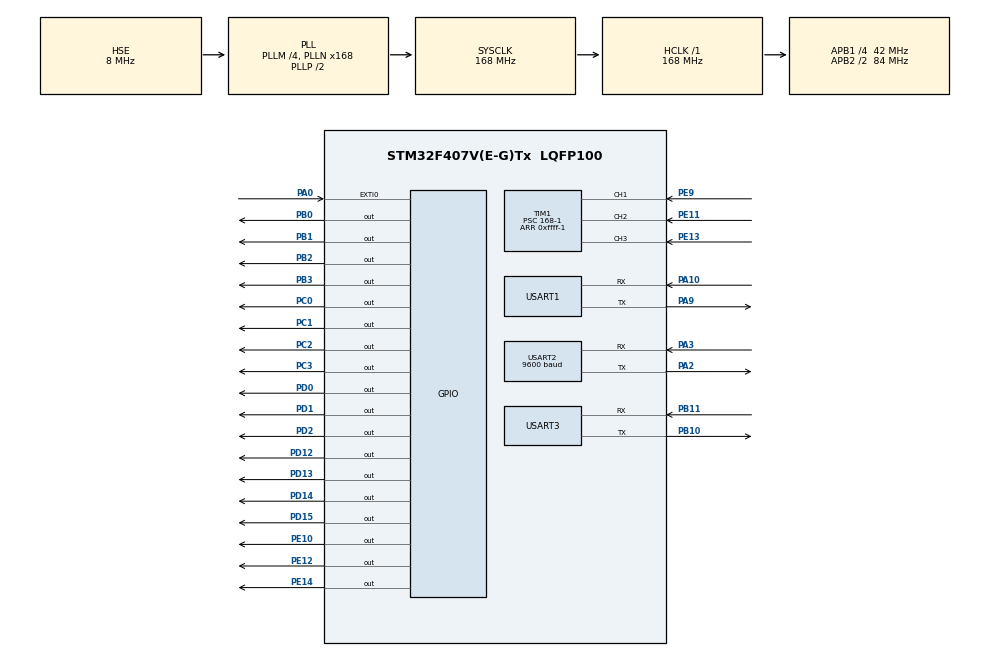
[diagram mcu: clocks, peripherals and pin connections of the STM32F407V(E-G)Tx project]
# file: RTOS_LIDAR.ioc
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Dma.Request0=USART1_RX
Dma.Request1=USART2_RX
Dma.Request2=USART3_TX
Dma.Request3=USART3_RX
Dma.USART1_RX.0.Direction=DMA_PERIPH_TO_MEMORY
Dma.USART1_RX.0.FIFOMode=DMA_FIFOMODE_DISABLE
Dma.USART1_RX.0.Instance=DMA2_Stream2
Dma.USART1_RX.0.MemDataAlignment=DMA_MDATAALIGN_BYTE
Dma.USART1_RX.0.MemInc=DMA_MINC_ENABLE
Dma.USART1_RX.0.Mode=DMA_NORMAL
Dma.USART1_RX.0.PeriphDataAlignment=DMA_PDATAALIGN_BYTE
Dma.USART1_RX.0.PeriphInc=DMA_PINC_DISABLE
Dma.USART1_RX.0.Priority=DMA_PRIORITY_LOW
Dma.USART2_RX.1.Direction=DMA_PERIPH_TO_MEMORY
Dma.USART2_RX.1.FIFOMode=DMA_FIFOMODE_DISABLE
Dma.USART2_RX.1.Instance=DMA1_Stream5
Dma.USART2_RX.1.MemDataAlignment=DMA_MDATAALIGN_BYTE
Dma.USART2_RX.1.MemInc=DMA_MINC_ENABLE
Dma.USART2_RX.1.Mode=DMA_NORMAL
Dma.USART2_RX.1.PeriphDataAlignment=DMA_PDATAALIGN_BYTE
Dma.USART2_RX.1.PeriphInc=DMA_PINC_DISABLE
Dma.USART2_RX.1.Priority=DMA_PRIORITY_LOW
Dma.USART3_RX.3.Direction=DMA_PERIPH_TO_MEMORY
Dma.USART3_RX.3.FIFOMode=DMA_FIFOMODE_DISABLE
Dma.USART3_RX.3.Instance=DMA1_Stream1
Dma.USART3_RX.3.MemDataAlignment=DMA_MDATAALIGN_BYTE
Dma.USART3_RX.3.MemInc=DMA_MINC_ENABLE
Dma.USART3_RX.3.Mode=DMA_NORMAL
Dma.USART3_RX.3.PeriphDataAlignment=DMA_PDATAALIGN_BYTE
Dma.USART3_RX.3.PeriphInc=DMA_PINC_DISABLE
Dma.USART3_RX.3.Priority=DMA_PRIORITY_LOW
Dma.USART3_TX.2.Direction=DMA_MEMORY_TO_PERIPH
Dma.USART3_TX.2.FIFOMode=DMA_FIFOMODE_DISABLE
Dma.USART3_TX.2.Instance=DMA1_Stream3
Dma.USART3_TX.2.MemDataAlignment=DMA_MDATAALIGN_BYTE
Dma.USART3_TX.2.MemInc=DMA_MINC_ENABLE
Dma.USART3_TX.2.Mode=DMA_NORMAL
Dma.USART3_TX.2.PeriphDataAlignment=DMA_PDATAALIGN_BYTE
Dma.USART3_TX.2.PeriphInc=DMA_PINC_DISABLE
Dma.USART3_TX.2.Priority=DMA_PRIORITY_LOW
FREERTOS.Tasks01=LidarREAD,24,128,StartLidarREAD,Default,NULL,Dynamic,NULL,NULL;TakeAction_Lida,8,128,Start_TakeAction_Lidar,Default,NULL,Dynamic,NULL,NULL;Ultrasonic_Read,24,128,Start_Ultrasonic_Read,Default,NULL,Dynamic,NULL,NULL;GPS,16,128,Start_GPS,Default,NULL,Dynamic,NULL,NULL;Send_Data,8,300,StartTask06,Default,NULL,Dynamic,NULL,NULL;Rec_Data,8,128,Start_Rec_Transmit,Default,NULL,Dynamic,NULL,NULL;LED_task,8,128,StartTask07,Default,NULL,Dynamic,NULL,NULL
Mcu.Family=STM32F4
Mcu.Name=STM32F407V(E-G)Tx
Mcu.Package=LQFP100
NVIC.DMA1_Stream1_IRQn=true\:5\:0\:false\:false\:true\:true\:false\:true\:true
NVIC.DMA1_Stream3_IRQn=true\:5\:0\:false\:false\:true\:true\:false\:true\:true
NVIC.DMA1_Stream5_IRQn=true\:5\:0\:false\:false\:true\:true\:false\:true\:true
NVIC.DMA2_Stream2_IRQn=true\:5\:0\:false\:false\:true\:true\:false\:true\:true
NVIC.EXTI0_IRQn=true\:7\:0\:true\:false\:true\:true\:true\:true\:true
NVIC.PriorityGroup=NVIC_PRIORITYGROUP_4
NVIC.TIM1_CC_IRQn=true\:5\:0\:false\:false\:true\:true\:true\:true\:true
NVIC.TIM6_DAC_IRQn=true\:15\:0\:true\:false\:true\:false\:false\:true\:true
NVIC.TimeBase=TIM6_DAC_IRQn
NVIC.TimeBaseIP=TIM6
NVIC.USART1_IRQn=true\:5\:0\:false\:false\:true\:true\:true\:true\:true
NVIC.USART2_IRQn=true\:5\:0\:false\:false\:true\:true\:true\:true\:true
NVIC.USART3_IRQn=true\:5\:0\:false\:false\:true\:true\:true\:true\:true
PA0-WKUP.Signal=GPXTI0
PA10.Mode=Asynchronous
PA10.Signal=USART1_RX
PA13.Mode=Serial_Wire
PA13.Signal=SYS_JTMS-SWDIO
PA14.Mode=Serial_Wire
PA14.Signal=SYS_JTCK-SWCLK
PA2.Mode=Asynchronous
PA2.Signal=USART2_TX
PA3.Mode=Asynchronous
PA3.Signal=USART2_RX
PA9.Mode=Asynchronous
PA9.Signal=USART1_TX
PB0.Signal=GPIO_Output
PB1.Signal=GPIO_Output
PB10.Mode=Asynchronous
PB10.Signal=USART3_TX
PB11.Mode=Asynchronous
PB11.Signal=USART3_RX
PB2.Signal=GPIO_Output
PB3.Signal=GPIO_Output
PC0.Signal=GPIO_Output
PC1.Signal=GPIO_Output
PC14-OSC32_IN.Mode=LSE-External-Oscillator
PC14-OSC32_IN.Signal=RCC_OSC32_IN
PC15-OSC32_OUT.Mode=LSE-External-Oscillator
PC15-OSC32_OUT.Signal=RCC_OSC32_OUT
PC2.Signal=GPIO_Output
PC3.Signal=GPIO_Output
PD0.Signal=GPIO_Output
PD1.Signal=GPIO_Output
PD12.Signal=GPIO_Output
PD13.Signal=GPIO_Output
PD14.Signal=GPIO_Output
PD15.Signal=GPIO_Output
PD2.Signal=GPIO_Output
PE10.Signal=GPIO_Output
PE11.Signal=S_TIM1_CH2
PE12.Signal=GPIO_Output
PE13.Signal=S_TIM1_CH3
PE14.Signal=GPIO_Output
PE9.Signal=S_TIM1_CH1
PH0-OSC_IN.Mode=HSE-External-Oscillator
PH0-OSC_IN.Signal=RCC_OSC_IN
PH1-OSC_OUT.Mode=HSE-External-Oscillator
PH1-OSC_OUT.Signal=RCC_OSC_OUT
ProjectManager.HeapSize=0x200
ProjectManager.StackSize=0x400
ProjectManager.TargetToolchain=STM32CubeIDE
RCC.48MHZClocksFreq_Value=84000000
RCC.AHBFreq_Value=168000000
RCC.APB1CLKDivider=RCC_HCLK_DIV4
RCC.APB1Freq_Value=42000000
RCC.APB1TimFreq_Value=84000000
RCC.APB2CLKDivider=RCC_HCLK_DIV2
RCC.APB2Freq_Value=84000000
RCC.APB2TimFreq_Value=168000000
RCC.CortexFreq_Value=168000000
RCC.HCLKFreq_Value=168000000
RCC.HSE_VALUE=8000000
RCC.HSI_VALUE=16000000
RCC.PLLM=4
RCC.PLLN=168
RCC.PLLSourceVirtual=RCC_PLLSOURCE_HSE
RCC.SYSCLKFreq_VALUE=168000000
RCC.SYSCLKSource=RCC_SYSCLKSOURCE_PLLCLK
RCC.VCOOutputFreq_Value=336000000
SH.S_TIM1_CH1.0=TIM1_CH1,Input_Capture1_from_TI1
SH.S_TIM1_CH2.0=TIM1_CH2,Input_Capture2_from_TI2
SH.S_TIM1_CH3.0=TIM1_CH3,Input_Capture3_from_TI3
TIM1.Channel-Input_Capture1_from_TI1=TIM_CHANNEL_1
TIM1.Channel-Input_Capture2_from_TI2=TIM_CHANNEL_2
TIM1.Channel-Input_Capture3_from_TI3=TIM_CHANNEL_3
TIM1.Period=0xffff-1
TIM1.Prescaler=168-1
USART1.VirtualMode=VM_ASYNC
USART2.BaudRate=9600
USART2.VirtualMode=VM_ASYNC
USART3.VirtualMode=VM_ASYNC
VP_FREERTOS_VS_CMSIS_V2.Mode=CMSIS_V2
VP_SYS_VS_tim6.Mode=TIM6
VP_TIM1_VS_ClockSourceINT.Mode=Internal
board=custom

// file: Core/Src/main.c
/* USER CODE BEGIN Header */
/**
 ******************************************************************************
 * @file           : main.c
 * @brief          : Main program body
 ******************************************************************************
 * @attention
 *
 * Copyright (c) 2023 STMicroelectronics.
 * All rights reserved.
 *
 * This software is licensed under terms that can be found in the LICENSE file
 * in the root directory of this software component.
 * If no LICENSE file comes with this software, it is provided AS-IS.
 *
 ******************************************************************************
 */
/* USER CODE END Header */
#include "main.h"
#include "cmsis_os.h"

/* USER CODE BEGIN Includes */
#include "Lidar.h"
#include "UltraSonic.h"
#include "string.h"
#include "gps_driver.h"
#include"LCD.h"
#include <string.h>
#include <stdio.h>

/* USER CODE END Includes */

/* USER CODE BEGIN PTD */
//A.hamid create 2 states for vehivles representing moving direction and safety level
typedef enum driving_states{

SAFE,
WARNING,
BRAKING,

}driving_states;

typedef enum direction_states{

STRAIGHT,
LEFT,
RIGHT

}direction_states;

/* USER CODE END PTD */

TIM_HandleTypeDef htim1;

UART_HandleTypeDef huart1;
UART_HandleTypeDef huart2;
UART_HandleTypeDef huart3;
DMA_HandleTypeDef hdma_usart1_rx;
DMA_HandleTypeDef hdma_usart2_rx;
DMA_HandleTypeDef hdma_usart3_tx;
DMA_HandleTypeDef hdma_usart3_rx;

/* Definitions for LidarREAD */
osThreadId_t LidarREADHandle;
const osThreadAttr_t LidarREAD_attributes = {
  .name = "LidarREAD",
  .stack_size = 128 * 4,
  .priority = (osPriority_t) osPriorityNormal,
};
/* Definitions for TakeAction_Lida */
osThreadId_t TakeAction_LidaHandle;
const osThreadAttr_t TakeAction_Lida_attributes = {
  .name = "TakeAction_Lida",
  .stack_size = 128 * 4,
  .priority = (osPriority_t) osPriorityLow,
};
/* Definitions for Ultrasonic_Read */
osThreadId_t Ultrasonic_ReadHandle;
const osThreadAttr_t Ultrasonic_Read_attributes = {
  .name = "Ultrasonic_Read",
  .stack_size = 128 * 4,
  .priority = (osPriority_t) osPriorityNormal,
};
/* Definitions for GPS */
osThreadId_t GPSHandle;
const osThreadAttr_t GPS_attributes = {
  .name = "GPS",
  .stack_size = 128 * 4,
  .priority = (osPriority_t) osPriorityBelowNormal,
};
/* Definitions for Send_Data */
osThreadId_t Send_DataHandle;
const osThreadAttr_t Send_Data_attributes = {
  .name = "Send_Data",
  .stack_size = 300 * 4,
  .priority = (osPriority_t) osPriorityLow,
};
/* Definitions for Rec_Data */
osThreadId_t Rec_DataHandle;
const osThreadAttr_t Rec_Data_attributes = {
  .name = "Rec_Data",
  .stack_size = 128 * 4,
  .priority = (osPriority_t) osPriorityLow,
};
/* Definitions for LED_task */
osThreadId_t LED_taskHandle;
const osThreadAttr_t LED_task_attributes = {
  .name = "LED_task",
  .stack_size = 128 * 4,
  .priority = (osPriority_t) osPriorityLow,
};
/* USER CODE BEGIN PV */
#define RxBuf_SIZE 800

uint8_t RxBuf[RxBuf_SIZE];
uint8_t RMC[80];
uint8_t GGA[80];
uint8_t msgindex=0;
uint8_t msgindexRMC=0;

GGA_STRUCT GGA_DATA;

RMC_STRUCT RMC_DATA;

int Flag=0;
char str_GGA[50];
char str_RMC[100];

driving_states vehicle_state=SAFE;    //A.hamid
direction_states vehicle_direction=STRAIGHT;
//A.Hamid added Task07
/* USER CODE END PV */

void SystemClock_Config(void);
static void MX_GPIO_Init(void);
static void MX_DMA_Init(void);
static void MX_USART1_UART_Init(void);
static void MX_TIM1_Init(void);
static void MX_USART2_UART_Init(void);
static void MX_USART3_UART_Init(void);
void StartLidarREAD(void *argument);
void Start_TakeAction_Lidar(void *argument);
void Start_Ultrasonic_Read(void *argument);
void Start_GPS(void *argument);
void StartTask06(void *argument);
void Start_Rec_Transmit(void *argument);
void StartTask07(void *argument);

/* USER CODE BEGIN PFP */
//A.hamid states functions turns ono and off leds and lcds
void warning_state(void);
void breaking_state(void);
void straight_state(void);

void left_state(void);
void right_state(void);
void safe_state(void);

/* USER CODE END PFP */

/* USER CODE BEGIN 0 */
/*****extern variable****/
extern uint16_t Global_u16LidarDistance;
extern uint32_t Rear_Distance;
extern uint32_t Left_Distance;
extern uint32_t Right_Distance;
char test_data[450];
const char Vehicle_ID[]= "A12";
int Routing_command=0;
float Destination_Longitude=31.3488351;
float Destination_Latitude=30.0591282;
int Check_Front_Obs=0;

char rx_data[10]; //A.Hamid TEST increased  size, can be reduced again
int Flag_Rec =0;
int Flag_obstacle=0;
int Flag_Drive=0;
uint8_t blink_color = 0;

/*buffer to receive data */
uint8_t g_usart1_rx_buf[USART_BUF_SIZE] = { 0 };
void HAL_UARTEx_RxEventCallback(UART_HandleTypeDef *huart, uint16_t Size)
{
	if (huart->Instance == USART2)
	{
		Flag=1;
		/* start the DMA again */
		HAL_UARTEx_ReceiveToIdle_DMA(&huart2, (uint8_t *) RxBuf, RxBuf_SIZE);
		__HAL_DMA_DISABLE_IT(&hdma_usart2_rx, DMA_IT_HT);
	}
	if (huart->Instance == USART3)
	{
		Flag_Rec=1;
		/* start the DMA again */
		HAL_UARTEx_ReceiveToIdle_DMA(&huart3, (uint8_t *) rx_data, sizeof(rx_data));
		__HAL_DMA_DISABLE_IT(&hdma_usart3_rx, DMA_IT_HT);

	}
}

/* USER CODE END 0 */

int main(void)
{

  /* MCU Configuration--------------------------------------------------------*/

  /* Reset of all peripherals, Initializes the Flash interface and the Systick. */
  HAL_Init();

  /* Configure the system clock */
  SystemClock_Config();

  /* Initialize all configured peripherals */
  MX_GPIO_Init();
  MX_DMA_Init();
  MX_USART1_UART_Init();
  MX_TIM1_Init();
  MX_USART2_UART_Init();
  MX_USART3_UART_Init();
  /* USER CODE BEGIN 2 */
	HAL_UARTEx_ReceiveToIdle_DMA(&huart2, RxBuf, RxBuf_SIZE);
	__HAL_DMA_DISABLE_IT(&hdma_usart2_rx, DMA_IT_HT);

	HAL_UARTEx_ReceiveToIdle_DMA(&huart3, rx_data, sizeof(rx_data));
	__HAL_DMA_DISABLE_IT(&hdma_usart3_rx, DMA_IT_HT);
	LCD_init(); /* Initialize the LCD */
	LCD_displayStringRowColumn(0,0,"STM LCD Driver");
	LCD_displayStringRowColumn(1,3,"GRAD PROJECT");
	HAL_Delay(400); /* wait four seconds */

	LCD_clearScreen(); /* clear the LCD display */
	LCD_displayString(" ");
	LCD_displayStringRowColumn(1,3,"4-Bit Mode");
  /* USER CODE END 2 */

  /* Init scheduler */
  osKernelInitialize();

  /* Create the thread(s) */
  /* creation of LidarREAD */
  LidarREADHandle = osThreadNew(StartLidarREAD, NULL, &LidarREAD_attributes);

  /* creation of TakeAction_Lida */
  TakeAction_LidaHandle = osThreadNew(Start_TakeAction_Lidar, NULL, &TakeAction_Lida_attributes);

  /* creation of Ultrasonic_Read */
  Ultrasonic_ReadHandle = osThreadNew(Start_Ultrasonic_Read, NULL, &Ultrasonic_Read_attributes);

  /* creation of GPS */
  GPSHandle = osThreadNew(Start_GPS, NULL, &GPS_attributes);

  /* creation of Send_Data */
  Send_DataHandle = osThreadNew(StartTask06, NULL, &Send_Data_attributes);

  /* creation of Rec_Data */
  Rec_DataHandle = osThreadNew(Start_Rec_Transmit, NULL, &Rec_Data_attributes);

  /* creation of LED_task */
  LED_taskHandle = osThreadNew(StartTask07, NULL, &LED_task_attributes);

  /* Start scheduler */
  osKernelStart();
  /* We should never get here as control is now taken by the scheduler */
  /* Infinite loop */
	while (1)
	{

	}
}

void SystemClock_Config(void)
{
  RCC_OscInitTypeDef RCC_OscInitStruct = {0};
  RCC_ClkInitTypeDef RCC_ClkInitStruct = {0};

  /** Configure the main internal regulator output voltage
  */
  __HAL_RCC_PWR_CLK_ENABLE();
  __HAL_PWR_VOLTAGESCALING_CONFIG(PWR_REGULATOR_VOLTAGE_SCALE1);

  /** Initializes the RCC Oscillators according to the specified parameters
  * in the RCC_OscInitTypeDef structure.
  */
  RCC_OscInitStruct.OscillatorType = RCC_OSCILLATORTYPE_HSE;
  RCC_OscInitStruct.HSEState = RCC_HSE_ON;
  RCC_OscInitStruct.PLL.PLLState = RCC_PLL_ON;
  RCC_OscInitStruct.PLL.PLLSource = RCC_PLLSOURCE_HSE;
  RCC_OscInitStruct.PLL.PLLM = 4;
  RCC_OscInitStruct.PLL.PLLN = 168;
  RCC_OscInitStruct.PLL.PLLP = RCC_PLLP_DIV2;
  RCC_OscInitStruct.PLL.PLLQ = 4;
  if (HAL_RCC_OscConfig(&RCC_OscInitStruct) != HAL_OK)
  {
    Error_Handler();
  }

  /** Initializes the CPU, AHB and APB buses clocks
  */
  RCC_ClkInitStruct.ClockType = RCC_CLOCKTYPE_HCLK|RCC_CLOCKTYPE_SYSCLK
                              |RCC_CLOCKTYPE_PCLK1|RCC_CLOCKTYPE_PCLK2;
  RCC_ClkInitStruct.SYSCLKSource = RCC_SYSCLKSOURCE_PLLCLK;
  RCC_ClkInitStruct.AHBCLKDivider = RCC_SYSCLK_DIV1;
  RCC_ClkInitStruct.APB1CLKDivider = RCC_HCLK_DIV4;
  RCC_ClkInitStruct.APB2CLKDivider = RCC_HCLK_DIV2;

  if (HAL_RCC_ClockConfig(&RCC_ClkInitStruct, FLASH_LATENCY_5) != HAL_OK)
  {
    Error_Handler();
  }
}

static void MX_TIM1_Init(void)
{

  TIM_ClockConfigTypeDef sClockSourceConfig = {0};
  TIM_MasterConfigTypeDef sMasterConfig = {0};
  TIM_IC_InitTypeDef sConfigIC = {0};

  htim1.Instance = TIM1;
  htim1.Init.Prescaler = 168-1;
  htim1.Init.CounterMode = TIM_COUNTERMODE_UP;
  htim1.Init.Period = 0xffff-1;
  htim1.Init.ClockDivision = TIM_CLOCKDIVISION_DIV1;
  htim1.Init.RepetitionCounter = 0;
  htim1.Init.AutoReloadPreload = TIM_AUTORELOAD_PRELOAD_DISABLE;
  if (HAL_TIM_Base_Init(&htim1) != HAL_OK)
  {
    Error_Handler();
  }
  sClockSourceConfig.ClockSource = TIM_CLOCKSOURCE_INTERNAL;
  if (HAL_TIM_ConfigClockSource(&htim1, &sClockSourceConfig) != HAL_OK)
  {
    Error_Handler();
  }
  if (HAL_TIM_IC_Init(&htim1) != HAL_OK)
  {
    Error_Handler();
  }
  sMasterConfig.MasterOutputTrigger = TIM_TRGO_RESET;
  sMasterConfig.MasterSlaveMode = TIM_MASTERSLAVEMODE_DISABLE;
  if (HAL_TIMEx_MasterConfigSynchronization(&htim1, &sMasterConfig) != HAL_OK)
  {
    Error_Handler();
  }
  sConfigIC.ICPolarity = TIM_INPUTCHANNELPOLARITY_RISING;
  sConfigIC.ICSelection = TIM_ICSELECTION_DIRECTTI;
  sConfigIC.ICPrescaler = TIM_ICPSC_DIV1;
  sConfigIC.ICFilter = 0;
  if (HAL_TIM_IC_ConfigChannel(&htim1, &sConfigIC, TIM_CHANNEL_1) != HAL_OK)
  {
    Error_Handler();
  }
  if (HAL_TIM_IC_ConfigChannel(&htim1, &sConfigIC, TIM_CHANNEL_2) != HAL_OK)
  {
    Error_Handler();
  }
  if (HAL_TIM_IC_ConfigChannel(&htim1, &sConfigIC, TIM_CHANNEL_3) != HAL_OK)
  {
    Error_Handler();
  }

}

static void MX_USART1_UART_Init(void)
{

  huart1.Instance = USART1;
  huart1.Init.BaudRate = 115200;
  huart1.Init.WordLength = UART_WORDLENGTH_8B;
  huart1.Init.StopBits = UART_STOPBITS_1;
  huart1.Init.Parity = UART_PARITY_NONE;
  huart1.Init.Mode = UART_MODE_TX_RX;
  huart1.Init.HwFlowCtl = UART_HWCONTROL_NONE;
  huart1.Init.OverSampling = UART_OVERSAMPLING_16;
  if (HAL_UART_Init(&huart1) != HAL_OK)
  {
    Error_Handler();
  }

}

static void MX_USART2_UART_Init(void)
{

  huart2.Instance = USART2;
  huart2.Init.BaudRate = 9600;
  huart2.Init.WordLength = UART_WORDLENGTH_8B;
  huart2.Init.StopBits = UART_STOPBITS_1;
  huart2.Init.Parity = UART_PARITY_NONE;
  huart2.Init.Mode = UART_MODE_TX_RX;
  huart2.Init.HwFlowCtl = UART_HWCONTROL_NONE;
  huart2.Init.OverSampling = UART_OVERSAMPLING_16;
  if (HAL_UART_Init(&huart2) != HAL_OK)
  {
    Error_Handler();
  }

}

static void MX_USART3_UART_Init(void)
{

  huart3.Instance = USART3;
  huart3.Init.BaudRate = 115200;
  huart3.Init.WordLength = UART_WORDLENGTH_8B;
  huart3.Init.StopBits = UART_STOPBITS_1;
  huart3.Init.Parity = UART_PARITY_NONE;
  huart3.Init.Mode = UART_MODE_TX_RX;
  huart3.Init.HwFlowCtl = UART_HWCONTROL_NONE;
  huart3.Init.OverSampling = UART_OVERSAMPLING_16;
  if (HAL_UART_Init(&huart3) != HAL_OK)
  {
    Error_Handler();
  }

}

static void MX_DMA_Init(void)
{

  /* DMA controller clock enable */
  __HAL_RCC_DMA2_CLK_ENABLE();
  __HAL_RCC_DMA1_CLK_ENABLE();

  /* DMA interrupt init */
  /* DMA1_Stream1_IRQn interrupt configuration */
  HAL_NVIC_SetPriority(DMA1_Stream1_IRQn, 5, 0);
  HAL_NVIC_EnableIRQ(DMA1_Stream1_IRQn);
  /* DMA1_Stream3_IRQn interrupt configuration */
  HAL_NVIC_SetPriority(DMA1_Stream3_IRQn, 5, 0);
  HAL_NVIC_EnableIRQ(DMA1_Stream3_IRQn);
  /* DMA1_Stream5_IRQn interrupt configuration */
  HAL_NVIC_SetPriority(DMA1_Stream5_IRQn, 5, 0);
  HAL_NVIC_EnableIRQ(DMA1_Stream5_IRQn);
  /* DMA2_Stream2_IRQn interrupt configuration */
  HAL_NVIC_SetPriority(DMA2_Stream2_IRQn, 5, 0);
  HAL_NVIC_EnableIRQ(DMA2_Stream2_IRQn);

}

static void MX_GPIO_Init(void)
{
  GPIO_InitTypeDef GPIO_InitStruct = {0};

  /* GPIO Ports Clock Enable */
  __HAL_RCC_GPIOC_CLK_ENABLE();
  __HAL_RCC_GPIOH_CLK_ENABLE();
  __HAL_RCC_GPIOA_CLK_ENABLE();
  __HAL_RCC_GPIOB_CLK_ENABLE();
  __HAL_RCC_GPIOE_CLK_ENABLE();
  __HAL_RCC_GPIOD_CLK_ENABLE();

  /*Configure GPIO pin Output Level */
  HAL_GPIO_WritePin(GPIOC, GPIO_PIN_0|GPIO_PIN_1|GPIO_PIN_2|GPIO_PIN_3, GPIO_PIN_RESET);

  /*Configure GPIO pin Output Level */
  HAL_GPIO_WritePin(GPIOB, GPIO_PIN_0|GPIO_PIN_1|GPIO_PIN_2|GPIO_PIN_3, GPIO_PIN_RESET);

  /*Configure GPIO pin Output Level */
  HAL_GPIO_WritePin(GPIOE, GPIO_PIN_10|GPIO_PIN_12|GPIO_PIN_14, GPIO_PIN_RESET);

  /*Configure GPIO pin Output Level */
  HAL_GPIO_WritePin(GPIOD, GPIO_PIN_12|GPIO_PIN_13|GPIO_PIN_14|GPIO_PIN_15
                          |GPIO_PIN_0|GPIO_PIN_1|GPIO_PIN_2, GPIO_PIN_RESET);

  /*Configure GPIO pins : PC0 PC1 PC2 PC3 */
  GPIO_InitStruct.Pin = GPIO_PIN_0|GPIO_PIN_1|GPIO_PIN_2|GPIO_PIN_3;
  GPIO_InitStruct.Mode = GPIO_MODE_OUTPUT_PP;
  GPIO_InitStruct.Pull = GPIO_NOPULL;
  GPIO_InitStruct.Speed = GPIO_SPEED_FREQ_LOW;
  HAL_GPIO_Init(GPIOC, &GPIO_InitStruct);

  /*Configure GPIO pin : PA0 */
  GPIO_InitStruct.Pin = GPIO_PIN_0;
  GPIO_InitStruct.Mode = GPIO_MODE_IT_RISING;
  GPIO_InitStruct.Pull = GPIO_NOPULL;
  HAL_GPIO_Init(GPIOA, &GPIO_InitStruct);

  /*Configure GPIO pins : PB0 PB1 PB2 PB3 */
  GPIO_InitStruct.Pin = GPIO_PIN_0|GPIO_PIN_1|GPIO_PIN_2|GPIO_PIN_3;
  GPIO_InitStruct.Mode = GPIO_MODE_OUTPUT_PP;
  GPIO_InitStruct.Pull = GPIO_NOPULL;
  GPIO_InitStruct.Speed = GPIO_SPEED_FREQ_LOW;
  HAL_GPIO_Init(GPIOB, &GPIO_InitStruct);

  /*Configure GPIO pins : PE10 PE12 PE14 */
  GPIO_InitStruct.Pin = GPIO_PIN_10|GPIO_PIN_12|GPIO_PIN_14;
  GPIO_InitStruct.Mode = GPIO_MODE_OUTPUT_PP;
  GPIO_InitStruct.Pull = GPIO_NOPULL;
  GPIO_InitStruct.Speed = GPIO_SPEED_FREQ_LOW;
  HAL_GPIO_Init(GPIOE, &GPIO_InitStruct);

  /*Configure GPIO pins : PD12 PD13 PD14 PD15
                           PD0 PD1 PD2 */
  GPIO_InitStruct.Pin = GPIO_PIN_12|GPIO_PIN_13|GPIO_PIN_14|GPIO_PIN_15
                          |GPIO_PIN_0|GPIO_PIN_1|GPIO_PIN_2;
  GPIO_InitStruct.Mode = GPIO_MODE_OUTPUT_PP;
  GPIO_InitStruct.Pull = GPIO_NOPULL;
  GPIO_InitStruct.Speed = GPIO_SPEED_FREQ_LOW;
  HAL_GPIO_Init(GPIOD, &GPIO_InitStruct);

  /* EXTI interrupt init*/
  HAL_NVIC_SetPriority(EXTI0_IRQn, 7, 0);
  HAL_NVIC_EnableIRQ(EXTI0_IRQn);

}

/* USER CODE BEGIN 4 */
//A.hamid call back to set routing to 1, after tx it is set to 0
void HAL_GPIO_EXTI_Callback(uint16_t GPIO_Pin)
{
  /* Prevent unused argument(s) compilation warning */
//  UNUSED(GPIO_Pin);
	if(Routing_command==0){
		osDelay(20);
		Routing_command=1;
	}}
void warning_state(void){//A.hamid
				blink_color = 4; // Red
        vehicle_state=WARNING;
				// HAL_GPIO_WritePin(GPIOC, GPIO_PIN_0, RESET);
				// HAL_GPIO_WritePin(GPIOC, GPIO_PIN_1, RESET);
				// HAL_GPIO_WritePin(GPIOC, GPIO_PIN_2, RESET);

//				LCD_clearScreen(); /* clear the LCD display */
//				LCD_displayString(" ");
//				LCD_displayStringRowColumn(1,3,"Warning!!");
//        for(int i=0; i<6 ; i++){
          HAL_GPIO_TogglePin ( GPIOC, GPIO_PIN_3);
//				osDelay(100);
//        }

				// memset((rx_data), '\0', strlen(rx_data));

				// osDelay(1000);

}
void safe_state(void){//A.hamid
        vehicle_state=SAFE;
				HAL_GPIO_WritePin(GPIOC, GPIO_PIN_3, RESET);
				// memset((rx_data), '\0', strlen(rx_data));

				LCD_clearScreen(); /* clear the LCD display */
				LCD_displayString(" ");
}

void breaking_state(void){//A.hamid

    vehicle_state=BRAKING;

    LCD_clearScreen(); /* clear the LCD display */
    LCD_displayString(" ");
    LCD_displayStringRowColumn(1,3,"Break!!");

    HAL_GPIO_WritePin(GPIOC, GPIO_PIN_3, SET);

}
void left_state(void){

        vehicle_direction=LEFT;//A.hamid

				blink_color = 2; // Yellow
				HAL_GPIO_WritePin(GPIOC, GPIO_PIN_0, RESET);
				HAL_GPIO_WritePin(GPIOC, GPIO_PIN_1, SET);
				HAL_GPIO_WritePin(GPIOC, GPIO_PIN_2, RESET);
				// HAL_GPIO_WritePin(GPIOC, GPIO_PIN_3, RESET);  //A.hamid
				// memset((rx_data), '\0', strlen(rx_data)); // delete all buffer after reading

				LCD_clearScreen(); /* clear the LCD display */
				LCD_displayString(" ");
				LCD_displayStringRowColumn(1,3,"Turn Left");

}
void right_state(void){
        vehicle_direction=RIGHT;
				blink_color = 1; // Green
				HAL_GPIO_WritePin(GPIOC, GPIO_PIN_0, SET);
				HAL_GPIO_WritePin(GPIOC, GPIO_PIN_1, RESET);
				HAL_GPIO_WritePin(GPIOC, GPIO_PIN_2, RESET);
//				HAL_GPIO_WritePin(GPIOC, GPIO_PIN_3, RESET);  //A.hamid
				// memset((rx_data), '\0', strlen(rx_data)); // delete all buffer after reading
				LCD_clearScreen(); /* clear the LCD display */
				LCD_displayString(" ");
				LCD_displayStringRowColumn(1,3,"Turn Right");

}
void straight_state(void){

        vehicle_direction=STRAIGHT;
        blink_color = 3; // Blue
				HAL_GPIO_WritePin(GPIOC, GPIO_PIN_0, RESET);
				HAL_GPIO_WritePin(GPIOC, GPIO_PIN_1, RESET);
				HAL_GPIO_WritePin(GPIOC, GPIO_PIN_2, SET);
				// HAL_GPIO_WritePin(GPIOC, GPIO_PIN_3, RESET);  //A.hamid
				// memset((rx_data), '\0', strlen(rx_data));  // delete all buffer after reading

				LCD_clearScreen(); /* clear the LCD display */
				LCD_displayString(" ");
				LCD_displayStringRowColumn(1,3,"Go Straight");

}
/* USER CODE END 4 */

void StartLidarREAD(void *argument)
{
  /* USER CODE BEGIN 5 */
	/* Infinite loop */
	for(;;)
	{
		HAL_UART_Receive_DMA(&huart1, g_usart1_rx_buf, USART_BUF_SIZE);

		/* enable uart IDLE  interrupt */
		__HAL_UART_ENABLE_IT(&huart1, UART_IT_IDLE);
		if(Global_u16LidarDistance <=100)
		{
			Flag_obstacle=1;
			Flag_Drive=0;
		}
		if(Global_u16LidarDistance < 1200)
		{
			Check_Front_Obs=1;
		}
		else if(Global_u16LidarDistance == 65535)
		{
			Check_Front_Obs=0;
		}
		osDelay(800);
	}
  /* USER CODE END 5 */
}

void Start_TakeAction_Lidar(void *argument)
{
  /* USER CODE BEGIN Start_TakeAction_Lidar */
	/* Infinite loop */
	for(;;)
	{
		if (Flag_obstacle == 1)
		{
			HAL_GPIO_WritePin(GPIOD, GPIO_PIN_14,SET);
			breaking_state();       //A.hamid you use it also with leds in demo?

			LCD_clearScreen(); /* clear the LCD display */
			LCD_displayString(" ");
			LCD_displayStringRowColumn(0,0,"Applying Brakes");
			HAL_Delay(200);
			HAL_GPIO_WritePin(GPIOD, GPIO_PIN_14,RESET);
			if(Global_u16LidarDistance >=101)
			{
				Flag_Drive=1;

			}
			Flag_obstacle=0;
			osDelay(200);

		}
		else if(Flag_Drive==1) {
      safe_state(); //A.hamid

			LCD_clearScreen(); /* clear the LCD display */
			LCD_displayString(" ");
			LCD_displayStringRowColumn(0,0,"Drive Mode");

			Flag_Drive=0;
			osDelay(20);
		}
	}
  /* USER CODE END Start_TakeAction_Lidar */
}

void Start_Ultrasonic_Read(void *argument)
{
  /* USER CODE BEGIN Start_Ultrasonic_Read */
	/* Infinite loop */
	HAL_TIM_IC_Start_IT(&htim1,TIM_CHANNEL_1);
	HAL_TIM_IC_Start_IT(&htim1,TIM_CHANNEL_2);
	//HAL_TIM_IC_Start_IT(&htim1,TIM_CHANNEL_3);

	for(;;)
	{
		UltraSonic_Read_Left();
		osDelay(400);

		UltraSonic_Read_Right();
		osDelay(400);
	}
  /* USER CODE END Start_Ultrasonic_Read */
}

void Start_GPS(void *argument)
{
  /* USER CODE BEGIN Start_GPS */
	/* Infinite loop */
	for(;;)
	{
		if (Flag==1)
		{
			//	if(Flag == 1){
			char *ptr = strstr((char *)RxBuf,"GPGGA");
			char *ptr1 = strstr((char *)RxBuf,"GPRMC");

			if(*ptr == 'G' )
			{
				if(*(ptr+1) == 'P' )

				{
					if(*(ptr+2) == 'G' )
					{
						if(*(ptr+3) == 'G' )
						{
							if(*(ptr+4) == 'A' )
							{
								while(1)
								{
									GGA[msgindex]=*ptr;
									msgindex++;
									*ptr =*(ptr+msgindex);
									if (*ptr=='*')
									{
										GGA[msgindex]='\n';
										msgindex++;
										GGA[msgindex]='\0';
										msgindex=0;
										break;
									}
								}

							}
						}
					}
				}
			}

			if(*ptr1 == 'G' )
			{
				if(*(ptr1+1) == 'P' )

				{
					if(*(ptr1+2) == 'R' )
					{
						if(*(ptr1+3) == 'M' )
						{
							if(*(ptr1+4) == 'C' )
							{
								while(1)
								{
									RMC[msgindexRMC]=*ptr1;
									msgindexRMC++;
									*ptr1 =*(ptr1+msgindexRMC);
									if (*ptr1=='*')
									{
										RMC[msgindexRMC]='\n';
										msgindexRMC++;
										RMC[msgindexRMC]='\0';
										msgindexRMC=0;
										break;
									}
								}

							}
						}
					}
				}
			}
			RMC_decode(RMC, &RMC_DATA);
			GGA_decode(GGA, &GGA_DATA);
			Flag=0;
			osDelay(100);
		}	}
  /* USER CODE END Start_GPS */
}

void StartTask06(void *argument)
{
  /* USER CODE BEGIN StartTask06 */
	/* Infinite loop */
	for(;;)
	{
		char lat[30];
		char lon[30];
		char D_lat[30];
		char D_lon[30];

		gcvt(GGA_DATA.position.latitude, 10, lat);
		gcvt(GGA_DATA.position.logitude, 10, lon);
		gcvt(Destination_Latitude, 10, D_lat);
		gcvt(Destination_Longitude, 10, D_lon);

		/*	int len = snprintf(test_data, sizeof(test_data), "%d-%d-%d %d:%d:%d,%d,%s,%s,%d,%d,%d,%lu,%lu,%lu,%s,%s"
				,
				RMC_DATA.date.day, RMC_DATA.date.month, RMC_DATA.date.year,
				GGA_DATA.time.hour, GGA_DATA.time.minuit, GGA_DATA.time.second, Vehicle_ID,
				lon, lat,(uint16_t)RMC_DATA.speed_over_gnd, Check_Front_Obs, Global_u16LidarDistance,
				Left_Distance, Right_Distance,Rear_Distance, D_lon, D_lat);
		 */

		/*int len = snprintf(test_data, sizeof(test_data), "{\n"
				"\"dateandtime\": \"%d-%d-%d %d:%d:%d\" ,\n"
				"\"vehicle id\": %,\n"
				"\"current lon\": %s,\n"
				"\"current lat\": %s,\n"
				"\"spdK/m\": %d,\n"
				"\"obsatcle flag\": %d,\n"
				"\"obstacle distance\": %d,\n"
				"\"3\": %lu,\n"
				"\"4\" :%lu,\n"
				"\"5\" :%lu,\n"
				"\"destination lon\": %s,\n"
				"\"destinationn lat\": %s\n}"
				,
				RMC_DATA.date.day, RMC_DATA.date.month, RMC_DATA.date.year,
				GGA_DATA.time.hour, GGA_DATA.time.minuit, GGA_DATA.time.second, Vehicle_ID,
				lon, lat,(uint16_t)RMC_DATA.speed_over_gnd, Check_Front_Obs, Global_u16LidarDistance,
				Left_Distance, Right_Distance,Rear_Distance, D_lon, D_lat);*/
		int len = snprintf(test_data, sizeof(test_data), "{\n" //A.hamid changed id to string + routing command added state and direction
				"\"dateandtime\": \"2022-12-07 08:48:00\" ,\n"  //TODO:  turn on gps
				"\"id\": \"%s\",\n"
				"\"r_cmd\": %d,\n"
				"\"clon\": 31.338135,\n"                        //TODO:  turn on gps
				"\"clat\": 30.056193,\n"                        //TODO:  turn on gps
				"\"spdK/m\": %d,\n"
				"\"1\": %d,\n"//obs flag
				"\"2\": %d,\n"//obs distance
				"\"3\": %lu,\n" // left distance
				"\"4\" :%lu,\n"//right
				"\"5\": %s,\n" //dest lon                           //TODO:
				"\"6\": %s,\n"                                      //TODO:
        "\"state\": %d,\n"
        "\"direction\": %d\n}\n" // dest lat                 //TEST

				/*,RMC_DATA.date.year, RMC_DATA.date.month, RMC_DATA.date.day,
				GGA_DATA.time.hour, GGA_DATA.time.minuit, GGA_DATA.time.second*/, Vehicle_ID, Routing_command,
				/*lon, lat,*/(uint16_t)RMC_DATA.speed_over_gnd, Check_Front_Obs, Global_u16LidarDistance,
				Left_Distance, Right_Distance, D_lon, D_lat,vehicle_state,vehicle_direction);

		if(Routing_command == 1){ //A.hamid reset routing command after 1 transmotion
			Routing_command=0;
		}else{}

		/*
		 * TIME_STAMP          = "dateandtime"

		V_ID                = "vehicle id"
		CURRENT_SPEED       = "spdK/m"
		CURRENT_POS_LAT     = "current lat"
		CURRENT_POS_LON     = "current lon"

		ROUTING_CMD         = "routing command"
		DISTINATION_POS_LAT = "destinationn lat"
		DISTINATION_POS_LON = "destination lon"

		OBSTACLE_FLAG       = "obsatcle flag"
		OBSTACLE_SPEED      = "obstacle speed"
		OBSTACLE_distance   = "obstacle distance"
		 */
		if (len < 0 || len >= sizeof(test_data)) {
			// handle error
		} else {
			HAL_StatusTypeDef status = HAL_UART_Transmit_DMA(&huart3, (uint8_t*)test_data, sizeof(test_data));
			//HAL_Delay(100);
			if (status != HAL_OK) {
				// handle error
			} else {
				printf("Transmitted %d bytes of data: %s\n", sizeof(test_data), test_data);
			}
		}

		osDelay(1000); //A.Hamid mqtt crashes with high amounts of msgs
	}
  /* USER CODE END StartTask06 */
}

void Start_Rec_Transmit(void *argument)
{
  /* USER CODE BEGIN Start_Rec_Transmit */
	/* Infinite loop */
	char temp_buffer[20] ={'\0'};
	for(;;)
	{

		if (Flag_Rec == 1)
		{
			rx_data[strcspn(rx_data, "\r\n")] = '\0';
			rx_data[strcspn(rx_data, "\r\n")] = '\0';
//			temp_buffer[20] = rx_data;
			strncpy(temp_buffer, rx_data, strlen(rx_data));
			memset((rx_data), '\0', strlen(rx_data)); 	//A.hamid  data gets corrupted mid way \
														// DMA buffers are not safe as data is not blocked from changing

      //A.hamid split into 2 catgories warning and direction, states are defined in functions
      // changed strcmp to str str, to detect direction and safety in single msg
      // not tested!

			/*warning states*/

			/*directions*/
//			if (strstr(temp_buffer, "Right"))
			if (strstr(temp_buffer, "R"))
			{
				vehicle_direction=RIGHT;
			}
//			else if( strstr(temp_buffer, "Left"))
			else if (strstr(temp_buffer, "L"))
			{
				vehicle_direction=LEFT;
			}
//			else if (strstr(temp_buffer, "Straight"))
			else if (strstr(temp_buffer, "S"))
			{
				vehicle_direction=STRAIGHT;
			}else{}
			if (strstr(temp_buffer, "W"))
			{
				vehicle_state=WARNING;

			}else if(strstr(temp_buffer, "N")){             //TODO: check for braking state

				vehicle_state=SAFE;
      }else{}

      memset((temp_buffer), '\0', strlen(temp_buffer)); //A.hamid  // delete all buffer after reading

			Flag_Rec=0;
		}	}
  /* USER CODE END Start_Rec_Transmit */
}

/* USER CODE BEGIN Header_StartTask07 */
/**
* @brief Function implementing the LED_task thread.
* @param argument: Not used
* @retval None
*/
//A.Hamid
/* USER CODE END Header_StartTask07 */
void StartTask07(void *argument)
{
  /* USER CODE BEGIN StartTask07 */
  /* Infinite loop */
  for(;;)
  {/*

  vehicle_state
  vehicle_direction
  straight_state
  right_state
  right_state
  left_state
  breaking_state
  warning_state

SAFE,
WARNING,
BRAKING,

STRAIGHT,
LEFT,
RIGHT

  */
    //A.Hamid Possible BUG LCD
	  switch(vehicle_direction){
	  case STRAIGHT:
	  	  straight_state();
		  break;
	  case RIGHT:
	   	   right_state();
		   break;
	  case LEFT:
			left_state();
			break;
	  default:
		  break;

	  }
	  switch(vehicle_state){
	  case BRAKING:
	  	  breaking_state();
		  break;
	  case SAFE:
	   	   safe_state();
		   break;
	  case WARNING:
			warning_state();
			break;
	  default:
		  break;

	  }

    osDelay(100);
  }
  /* USER CODE END StartTask07 */
}

void HAL_TIM_PeriodElapsedCallback(TIM_HandleTypeDef *htim)
{
  if (htim->Instance == TIM6) {
    HAL_IncTick();
  }
}

void Error_Handler(void)
{
	__disable_irq();
	while (1)
	{
	}
}
